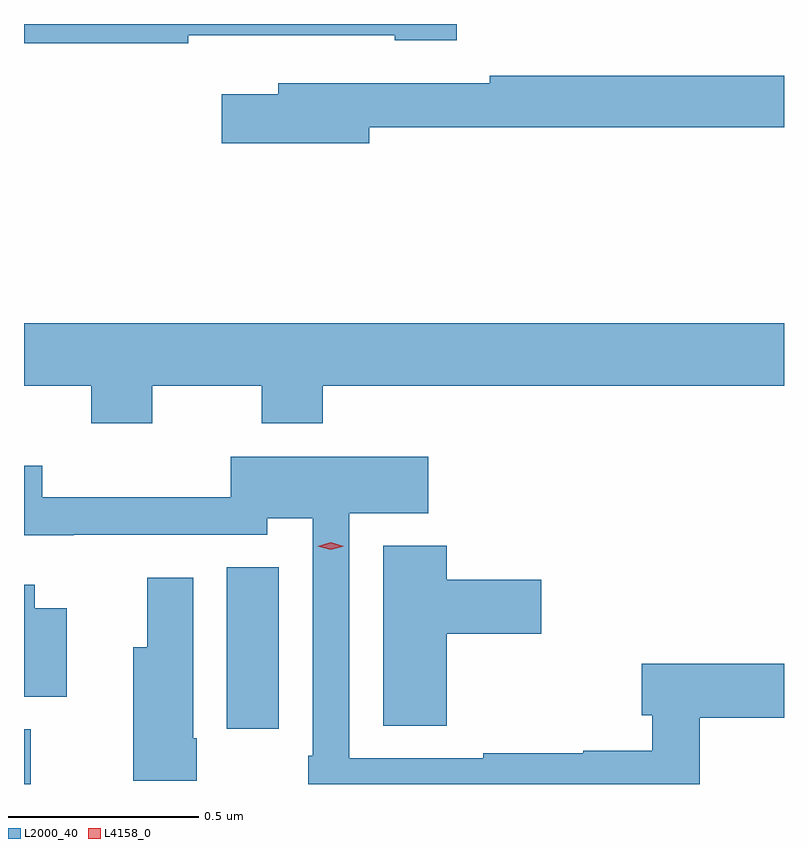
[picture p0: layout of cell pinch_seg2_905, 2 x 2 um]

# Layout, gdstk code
import gdstk
lib = gdstk.Library(unit=1e-6, precision=1e-09)
def R(c, l, rs):  # rectangles x0, y0, x1, y1
    for r in rs: c.add(gdstk.rectangle(r[:2], r[2:], *l))
def P(c, l, *ps):  # polygons
    for p in ps: c.add(gdstk.Polygon(p, *l))
L2000_40 = (2000, 40)
L4158_0 = (4158, 0)

pinch_seg2_905 = lib.new_cell('pinch_seg2_905')
R(pinch_seg2_905, L2000_40, [(498.482,594.64,498.5,594.784), (499.016,594.786,499.153,595.211)])
P(pinch_seg2_905, L2000_40, [(498.914,596.61),(499.458,596.61),(499.458,596.597),(499.621,596.597),(499.621,596.64),(498.482,596.64),(498.482,596.59),(498.914,596.59)],
  [(499.39,596.368),(500.482,596.368),(500.482,596.504),(499.708,596.504),(499.708,596.484),(499.151,596.484),(499.151,596.455),(499.002,596.455),(499.002,596.326),(499.39,596.326)],
  [(498.819,595.688),(499.108,595.688),(499.108,595.589),(499.268,595.589),(499.268,595.688),(500.482,595.688),(500.482,595.852),(498.482,595.852),(498.482,595.688),(498.659,595.688),(498.659,595.589),(498.819,595.589)],
  [(500.26,594.814),(500.482,594.814),(500.482,594.956),(500.108,594.956),(500.108,594.821),(500.135,594.821),(500.135,594.728),(499.954,594.728),(499.954,594.721),(499.69,594.721),(499.69,594.708),(499.338,594.708),(499.338,595.352),(499.546,595.352),(499.546,595.501),(499.026,595.501),(499.026,595.394),(498.53,595.394),(498.53,595.477),(498.482,595.477),(498.482,595.295),(498.613,595.295),(498.613,595.296),(499.122,595.296),(499.122,595.34),(499.242,595.34),(499.242,594.715),(499.23,594.715),(499.23,594.64),(500.26,594.64)],
  [(499.594,595.036),(499.843,595.036),(499.843,595.178),(499.594,595.178),(499.594,595.267),(499.427,595.267),(499.427,594.793),(499.594,594.793)],
  [(498.936,594.76),(498.928,594.76),(498.928,595.183),(498.806,595.183),(498.806,595),(498.77,595),(498.77,594.648),(498.936,594.648)],
  [(498.595,595.102),(498.51,595.102),(498.51,595.165),(498.482,595.165),(498.482,594.869),(498.595,594.869)])
P(pinch_seg2_905, L4158_0, [(499.289,595.256),(499.255,595.266),(499.254,595.266),(499.255,595.266),(499.289,595.276),(499.324,595.266),(499.324,595.266),(499.324,595.266)])

lib.write_gds('pinch_seg2_905.gds')
